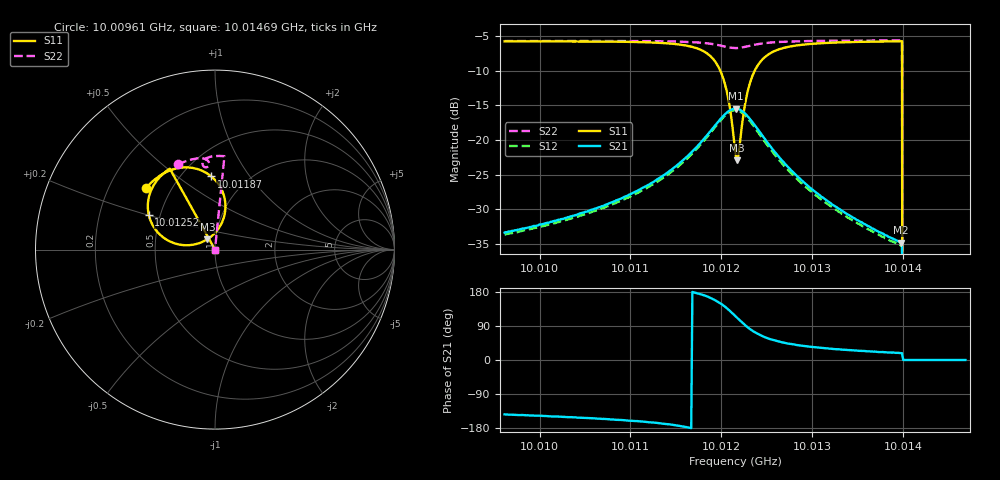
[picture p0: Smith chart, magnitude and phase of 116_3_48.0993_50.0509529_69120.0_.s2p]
#  HZ  S  RI  R  50.00
! Rohde & Schwarz Vector Network Analyzer
! Rohde-Schwarz,ZNB20-2Port,1311601062101988,3.16
! Created: UTC 12/23/2023, 3:46:17 AM
! freq[Hz]  re:S11  im:S11  re:S21  im:S21  re:S12  im:S12  re:S22  im:S22
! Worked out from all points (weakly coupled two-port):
!   401 points, 10.00961 GHz to 10.01469 GHz, reference 50 ohm
!   highest |S21| = -15.46 dB at 10.01216 GHz (marker M1); lowest = -34.8 dB at 10.01398 GHz (marker M2)
!   lowest |S11| = -22.9 dB at 10.01218 GHz (marker M3), VSWR 1.15, Z = 45.6 + j5.28 ohm
!   |S11| at or under -10 dB: 10.01199 GHz to 10.01237 GHz (378.6 kHz wide, 0.00378 % of centre); 10.01399 GHz to end of sweep
!   |S22| runs from - to -5.6 dB; largest |S21 - S12| = 0.0081
!   S11 on the Smith chart (normalised r, x): 10.00961 GHz: 0.36, +0.34; 10.01187 GHz: 0.69, +0.67; 10.01252 GHz: 0.43, +0.20; 10.01469 GHz: 1.00, +0.00
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1.0009614e10  -0.3855 0.3418  -0.0173 -0.0128  -0.0161 -0.0133  -0.2049 0.4759
1.0010464e10  -0.3305 0.3948  -0.0265 -0.0137  -0.0248 -0.0145  -0.1516 0.4963
1.0011314e10  -0.2278 0.449  -0.0517 -0.0121  -0.049 -0.0143  -0.091 0.5086
1.0011669e10  -0.126 0.4552  -0.0814 -0.000392  -0.0785 -0.0046  -0.0598 0.5063
1.0011872e10  -0.0203 0.4073  -0.1104 0.0298  -0.1084 0.0235  -0.0397 0.4951
1.0011961e10  0.0323 0.343  -0.1207 0.0595  -0.1206 0.0516  -0.0334 0.4844
1.0012037e10  0.0578 0.2519  -0.1196 0.0953  -0.1208 0.0878  -0.033 0.4725
1.0012087e10  0.0483 0.176  -0.1071 0.1226  -0.1096 0.1151  -0.0371 0.4645
1.0012151e10  -0.00762 0.0851  -0.076 0.1504  -0.0798 0.1437  -0.0471 0.4588
1.0012163e10  -0.0247 0.0701  -0.068 0.1542  -0.0722 0.1474  -0.0495 0.4585
1.0012176e10  -0.0427 0.0575  -0.0602 0.1571  -0.0642 0.1506  -0.0519 0.4584
1.0012202e10  -0.0826 0.0377  -0.0438 0.1602  -0.0477 0.1541  -0.0566 0.4594
1.0012265e10  -0.1852 0.026  -0.00348 0.1548  -0.00814 0.1495  -0.0658 0.4664
1.0012316e10  -0.2545 0.047  0.0207 0.1406  0.0149 0.1361  -0.0693 0.4743
1.0012405e10  -0.3307 0.1106  0.0431 0.1108  0.038 0.1075  -0.0682 0.4878
1.0012519e10  -0.3685 0.1914  0.0518 0.0786  0.0464 0.0769  -0.0601 0.5002
1.0013001e10  -0.3426 0.3576  0.0365 0.0249  0.0334 0.0253  -0.0186 0.5184
1.0013851e10  -0.2632 0.4432  0.0188 0.00675  0.0175 0.00744  0.0431 0.5213
1.0013965e10  -0.2539 0.4497  0.0175 0.00581  0.0164 0.0065  0.0508 0.5209
1.0013978e10  -0.2529 0.4505  0.0173 0.00569  0.0161 0.00639  0.0519 0.5207
1.0014028e10  0 0  0 0  0 0  0 0
1.0014688e10  0 0  0 0  0 0  0 0
